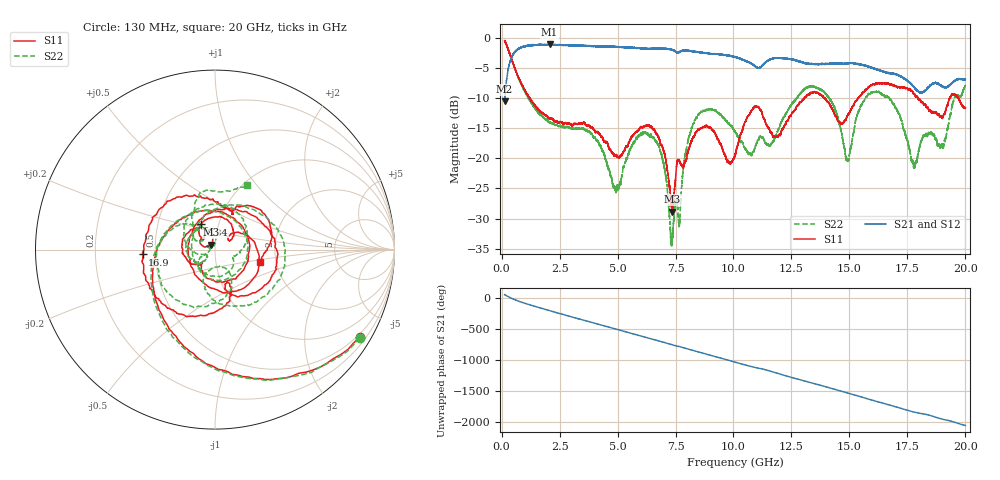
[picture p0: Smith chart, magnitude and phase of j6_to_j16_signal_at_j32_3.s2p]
!Created with skrf (http://scikit-rf.org).
# GHz S RI R 50.0
!freq ReS11 ImS11 ReS21 ImS21 ReS12 ImS12 ReS22 ImS22
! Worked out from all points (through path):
!   20013 points, 130 MHz to 20 GHz, reference 50 ohm
!   highest |S21| = -1.06 dB at 2.069 GHz (marker M1); lowest = -10.6 dB at 130 MHz (marker M2)
!   group delay of S21, straight-line fit = 289 ps
!   lowest |S11| = -28.8 dB at 7.364 GHz (marker M3), VSWR 1.08, Z = 47.7 + j2.67 ohm
!   |S11| at or under -10 dB: 1.214 GHz to 13.05 GHz (11.83 GHz wide, 166 % of centre); 13.93 GHz to 15.37 GHz (1.441 GHz wide, 9.84 % of centre); 17.96 GHz to 19.33 GHz (1.372 GHz wide, 7.36 % of centre)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
!   |S22| runs from -34.6 to -0.4 dB; largest |S21 - S12| = 0.061
!   S11 on the Smith chart (normalised r, x): 130 MHz: 0.40, -3.58; 8.34 GHz: 0.82, +0.24; 16.9 GHz: 0.43, -0.03; 20 GHz: 1.64, -0.26
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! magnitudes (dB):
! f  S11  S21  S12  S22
! 130 MHz  -0.5  -10.6  -11.6  -0.5
! 589 MHz  -5.3  -2.3  -2.3  -5.2
! 2.069 GHz  -13.5  -1.1  -1.1  -14.1
! 3.442 GHz  -14.2  -1.3  -1.3  -15.1
! 4.917 GHz  -19.4  -1.5  -1.5  -25.3
! 5.88 GHz  -15.4  -1.7  -1.7  -16.4
! 6.754 GHz  -16.4  -1.8  -1.8  -17.8
! 7.364 GHz  -28.8  -2.0  -2.0  -32.8
! 8.34 GHz  -15.9  -2.3  -2.3  -13.6
! 10.06 GHz  -19.5  -3.1  -3.1  -15.7
! 10.91 GHz  -11.4  -4.6  -4.5  -18.4
! 11.6 GHz  -15.7  -3.6  -3.5  -17.8
! 13.38 GHz  -9.1  -4.4  -4.3  -8.1
! 14.28 GHz  -12.0  -4.3  -4.3  -11.1
! 14.91 GHz  -12.9  -4.2  -4.1  -20.2
! 15.74 GHz  -8.5  -4.6  -4.6  -9.8
! 16.69 GHz  -7.6  -5.8  -5.9  -9.9
! 16.9 GHz  -7.9  -5.9  -5.9  -11.0
! 17.82 GHz  -9.4  -8.3  -8.2  -21.4
! 18.24 GHz  -11.0  -8.9  -8.9  -16.3
! 19.01 GHz  -13.2  -8.1  -7.9  -18.0
! 20 GHz  -11.7  -6.9  -7.0  -7.9
